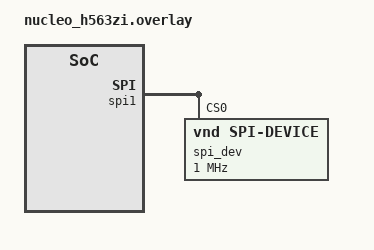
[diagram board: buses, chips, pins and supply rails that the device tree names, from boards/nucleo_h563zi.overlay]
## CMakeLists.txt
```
#-------------------------------------------------------------------------------
# Zephyr SPI Slave Application
#
# SPDX-License-Identifier: Apache-2.0

cmake_minimum_required(VERSION 3.20.0)

find_package(Zephyr REQUIRED HINTS $ENV{ZEPHYR_BASE})
project(spi_slave_app)

project(app LANGUAGES C)

target_sources(app PRIVATE src/main.c)
```

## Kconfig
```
# SPDX-License-Identifier: Apache-2.0

menu "Zephyr"
source "Kconfig.zephyr"
endmenu

module = APP
module-str = APP
```

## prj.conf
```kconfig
# SPDX-License-Identifier: Apache-2.0

CONFIG_SPI=y
CONFIG_SPI_SLAVE=y
CONFIG_SPI_STM32_INTERRUPT=y
CONFIG_LOG=y
CONFIG_LOG_DEFAULT_LEVEL=3
CONFIG_LOG_BACKEND_UART=y
```

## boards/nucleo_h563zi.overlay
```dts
//SPI slave on the Nucleo H563ZI's SPI1 controller.
//SPI1 pins (from board DTS):
//SCK = PA5
//MOSI = PB5
//MISO = PG9
//CS = PD14

&spi1 {
    spi_dev: spi_dev@0 {
        compatible = "vnd,spi-device";
        reg = <0>;
        spi-max-frequency = <1000000>;
        label = "spi_dev";
    };
};
```

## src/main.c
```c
#include <zephyr/kernel.h>
#include <zephyr/drivers/spi.h>
#include <zephyr/devicetree.h>

#define LEN_TRANSCEIVE 4
#define SPI_DEVICE_NAME spi_dev

//slave operation flags
static const spi_operation_t operation_flags = (
    SPI_OP_MODE_SLAVE |
    SPI_TRANSFER_MSB |
    SPI_WORD_SET(8));

static const struct spi_dt_spec spi_device = SPI_DT_SPEC_GET(
    DT_NODELABEL(SPI_DEVICE_NAME),
    operation_flags,
    0);

int main(void)
{
    printk("SPI slave started\n");

    if (!spi_is_ready_dt(&spi_device)) {
        printk("SPI device not ready\n");
        return 1;
    }

    while (1) {
        //read buffer: filled by master's MOSI data
        uint8_t read_buf[LEN_TRANSCEIVE] = {0};
        struct spi_buf spi_read_buf = {&read_buf, LEN_TRANSCEIVE};
        const struct spi_buf_set rx_buf = {&spi_read_buf, 1};

        //write buffer: data sent back to master on MISO
        uint8_t write_buf[LEN_TRANSCEIVE] = {0};
        struct spi_buf spi_write_buf = {&write_buf, LEN_TRANSCEIVE};
        const struct spi_buf_set tx_buf = {&spi_write_buf, 1};

        //populate response data (master will read this on MISO)
        for (int i = 0; i < LEN_TRANSCEIVE; i++) {
            write_buf[i] = i + 4;
        }

        //block until master initiates a transaction
        //in slave mode, returns no. of received frames on success (>= 0)
        //or negative error code on failure
        int rc = spi_transceive_dt(&spi_device, &tx_buf, &rx_buf);
        if (rc < 0) {
            printk("SPI transceive error: %d\n", rc);
            continue;
        }
        printk("Received %d frames\n", rc);

        //print what the master sent
        for (int i = 0; i < LEN_TRANSCEIVE; i++) {
            printk("received word %d: %d\n", i, read_buf[i]);
        }
    }

    return 0;
}
```
